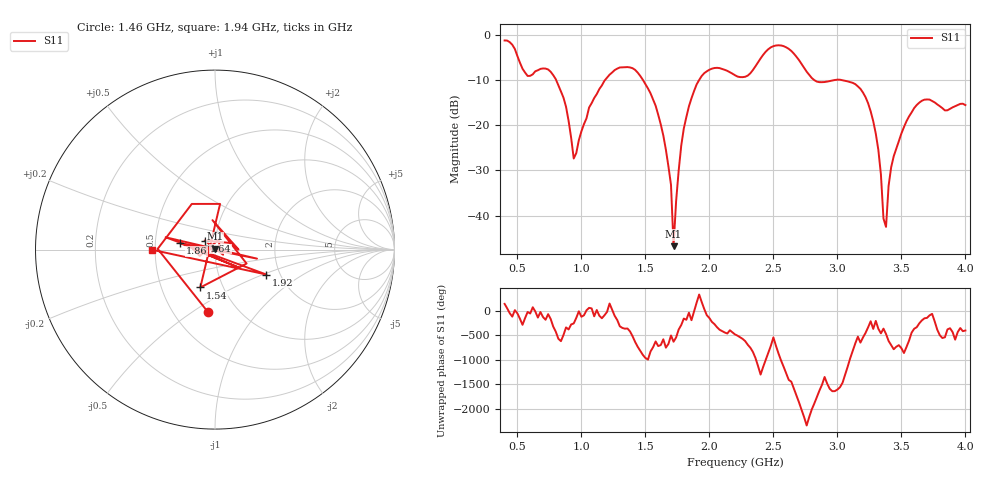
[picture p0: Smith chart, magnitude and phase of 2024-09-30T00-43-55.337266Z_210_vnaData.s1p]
!Created with skrf (http://scikit-rf.org).
# Hz S RI R 50.0
!freq ReS11 ImS11
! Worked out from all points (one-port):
!   181 points, 400 MHz to 4 GHz, reference 50 ohm
!   lowest |S11| = -46.8 dB at 1.72 GHz (marker M1), VSWR 1.01, Z = 50 + j0.457 ohm
!   |S11| at or under -10 dB: 803.2 MHz to 1.184 GHz (380.4 MHz wide, 38.3 % of centre); 1.482 GHz to 1.919 GHz (437.3 MHz wide, 25.7 % of centre); 3.038 GHz to end of sweep (the widest 3 of 4)
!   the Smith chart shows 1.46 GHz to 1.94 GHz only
!   S11 on the Smith chart (normalised r, x): 1.46 GHz: 0.73, -0.58; 1.54 GHz: 0.78, -0.35; 1.64 GHz: 0.89, +0.09; 1.86 GHz: 0.67, +0.05; 1.92 GHz: 1.70, -0.52; 1.94 GHz: 0.48, -0.00
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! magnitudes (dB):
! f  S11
! 400 MHz  -1.2
! 760 MHz  -8.1
! 860 MHz  -13.9
! 940 MHz  -27.4
! 1.06 GHz  -16.1
! 1.3 GHz  -7.2
! 1.46 GHz  -9.1
! 1.54 GHz  -12.9
! 1.64 GHz  -22.3
! 1.7 GHz  -33.2
! 1.72 GHz  -46.8
! 1.76 GHz  -30.0
! 1.86 GHz  -14.0
! 1.92 GHz  -10.0
! 1.94 GHz  -9.1
! 2.2 GHz  -8.9
! 2.5 GHz  -2.5
! 2.66 GHz  -4.1
! 2.84 GHz  -10.3
! 3.1 GHz  -10.4
! 3.28 GHz  -19.1
! 3.32 GHz  -25.5
! 3.36 GHz  -40.7
! 3.38 GHz  -42.5
! 3.42 GHz  -29.3
! 3.56 GHz  -18.0
! 3.68 GHz  -14.3
! 4 GHz  -15.5
